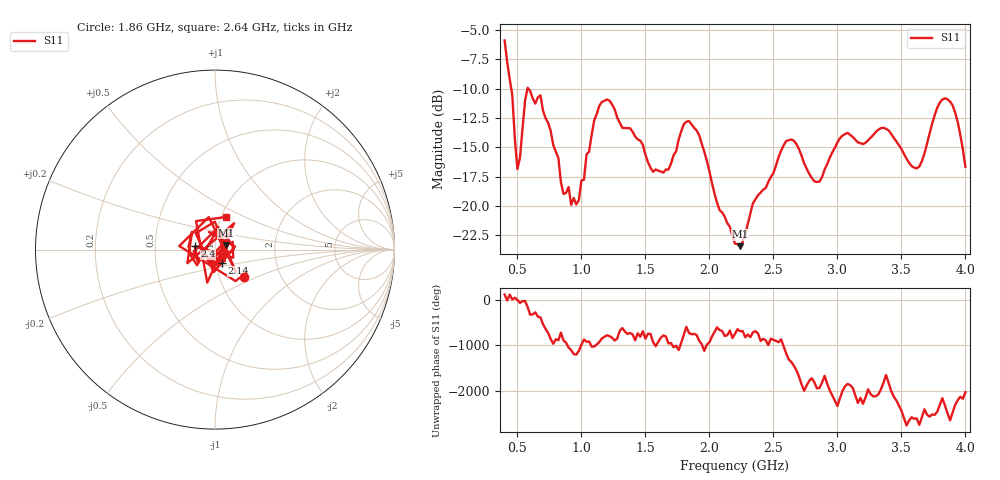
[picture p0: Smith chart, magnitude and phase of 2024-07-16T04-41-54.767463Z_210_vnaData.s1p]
!Created with skrf (http://scikit-rf.org).
# Hz S RI R 50.0
!freq ReS11 ImS11
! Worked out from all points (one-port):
!   181 points, 400 MHz to 4 GHz, reference 50 ohm
!   lowest |S11| = -23.4 dB at 2.24 GHz (marker M1), VSWR 1.14, Z = 56.6 + j2.92 ohm
!   |S11| at or under -10 dB: 451.8 MHz to 578.8 MHz (127.1 MHz wide, 24.7 % of centre); 584.5 MHz to end of sweep
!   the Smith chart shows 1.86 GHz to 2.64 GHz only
!   S11 on the Smith chart (normalised r, x): 1.86 GHz: 1.32, -0.42; 2.14 GHz: 1.07, -0.16; 2.4 GHz: 0.80, +0.03; 2.64 GHz: 1.05, +0.40
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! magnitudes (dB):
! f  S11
! 400 MHz  -5.9
! 460 MHz  -10.6
! 500 MHz  -16.9
! 580 MHz  -9.9
! 680 MHz  -10.6
! 860 MHz  -19.0
! 980 MHz  -19.5
! 1.1 GHz  -12.7
! 1.16 GHz  -11.1
! 1.3 GHz  -12.9
! 1.56 GHz  -17.1
! 1.68 GHz  -16.9
! 1.76 GHz  -14.3
! 1.86 GHz  -13.0
! 2.14 GHz  -21.5
! 2.2 GHz  -23.2
! 2.24 GHz  -23.4
! 2.4 GHz  -18.9
! 2.64 GHz  -14.3
! 2.66 GHz  -14.4
! 2.84 GHz  -17.9
! 3.1 GHz  -13.9
! 3.38 GHz  -13.4
! 3.56 GHz  -16.3
! 3.64 GHz  -16.6
! 3.84 GHz  -10.8
! 3.92 GHz  -12.0
! 4 GHz  -16.7
